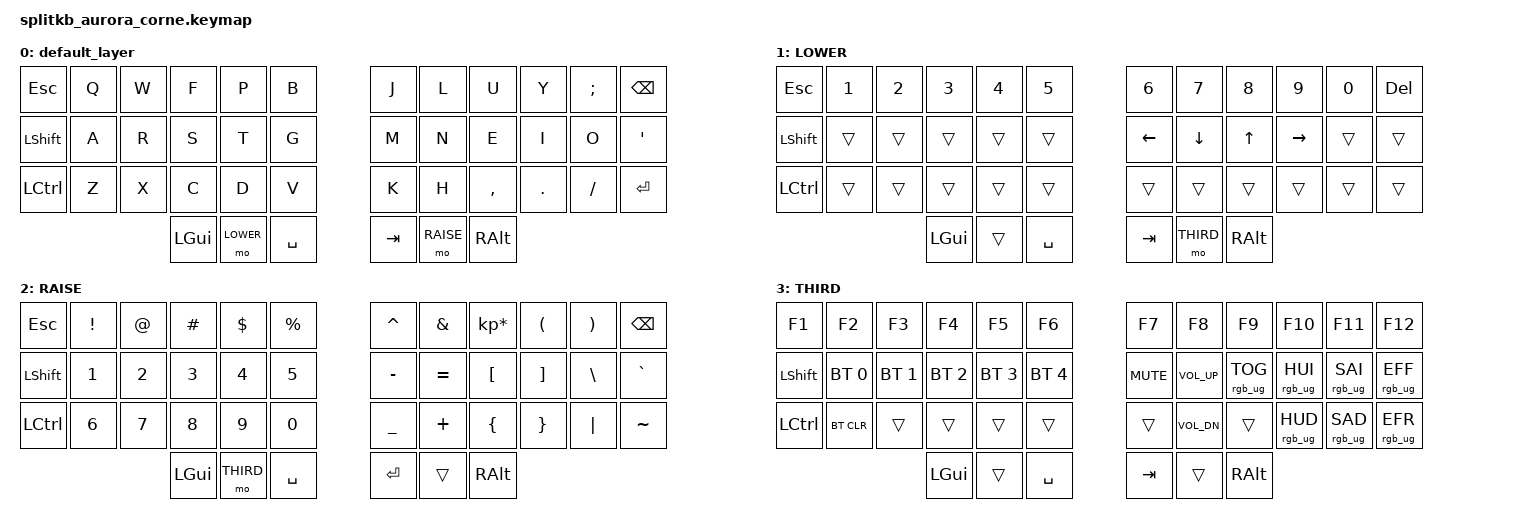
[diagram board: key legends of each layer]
/*
 * Copyright (c) 2020 The ZMK Contributors
 *
 * SPDX-License-Identifier: MIT
 */

#include <behaviors.dtsi>
#include <dt-bindings/zmk/keys.h>
#include <dt-bindings/zmk/bt.h>
#include <dt-bindings/zmk/rgb.h>
#define LOWER 1
#define RAISE 2
#define THIRD 3

/ {
        keymap {
                compatible = "zmk,keymap";

                default_layer {
// -----------------------------------------------------------------------------------------
// |  ESC   |  Q  |  W  |  F  |  P  |  B  |   |  J  |  L   |  U  |  Y  |  ;  | BKSP   |
// | LSHFT  |  A  |  R  |  S  |  T  |  G  |   |  M  |  N   |  E  |  I  |  O  |  '     |
// | LCTRL  |  Z  |  X  |  C  |  D  |  V  |   |  K  |  H   |  ,  |  .  |  /  | ENTER  |
//                      | GUI | LWR | SPC |   | TAB | RSE  | ALT |
                        bindings = <
   &kp ESC   &kp Q &kp W &kp F &kp P &kp B   &kp J &kp L  &kp U     &kp Y   &kp SEMI  &kp BSPC
   &kp LSHFT &kp A &kp R &kp S &kp T &kp G   &kp M &kp N  &kp E     &kp I   &kp O     &kp SQT
   &kp LCTRL &kp Z &kp X &kp C &kp D &kp V   &kp K &kp H  &kp COMMA &kp DOT &kp FSLH  &kp ENTER
                   &kp LGUI &mo LOWER &kp SPACE   &kp TAB &mo RAISE &kp RALT
                        >;
                };
                LOWER {
// -----------------------------------------------------------------------------------------
// |  ESC |  1  |  2  |  3  |  4  |  5  |   |  6  |  7  |  8  |  9  |  0  | DEL |
// | LSHFT|     |     |     |     |     |   | LFT | DWN |  UP | RGT |     |      |
// | LCTRL|     |     |     |     |     |   |     |     |     |     |     |      |
//                    | GUI |     | SPC |   | TAB |     | ALT |
                        bindings = <
   &kp ESC    &kp N1  &kp N2  &kp N3   &kp N4   &kp N5        &kp N6   &kp N7   &kp N8  &kp N9    &kp N0 &kp DEL
   &kp LSHFT  &trans  &trans  &trans   &trans   &trans        &kp LEFT &kp DOWN &kp UP  &kp RIGHT &trans &trans
   &kp LCTRL  &trans  &trans  &trans   &trans   &trans        &trans   &trans   &trans  &trans    &trans &trans
                              &kp LGUI &trans   &kp SPACE     &kp TAB  &mo THIRD    &kp RALT
                        >;
                };

                RAISE {
// -----------------------------------------------------------------------------------------
// |  ESC |  !  |  @  |  #  |  $  |  %  |   |  ^    |  &  |  *  |  (  |  )  | BKSP |
// | CTRL |  1  |  2  | 3   |  4  |  5  |   |  -    |  =  |  [  |  ]  |  \  |  `   |
// | SHFT |  6  |  7  | 8   |  9  |  0  |   |  _    |  +  |  {  |  }  | "|" |  ~   |
//                    | GUI |     | SPC |   | ENTER |     | ALT |
                        bindings = <
   &kp ESC    &kp EXCL   &kp AT &kp HASH &kp DLLR &kp PRCNT    &kp CARET  &kp AMPS  &kp KP_MULTIPLY &kp LPAR &kp RPAR &kp BSPC
   &kp LSHFT  &kp N1     &kp N2 &kp N3   &kp N4   &kp N5       &kp MINUS  &kp EQUAL &kp LBKT        &kp RBKT &kp BSLH &kp GRAVE
   &kp LCTRL  &kp N6     &kp N7 &kp N8   &kp N9   &kp N0       &kp UNDER  &kp PLUS  &kp LBRC        &kp RBRC &kp PIPE &kp TILDE
                                &kp LGUI &mo THIRD    &kp SPACE    &kp ENTER  &trans    &kp RALT
                        >;
                };
                THIRD {
// -----------------------------------------------------------------------------------------
// |  F1  | F2    | F3  | F4  | F5  | F6  |   | F7      | F8          | F9      | F10     | F11     | F12     |
// | CTRL | BT1   | BT2 | BT3 | BT4 | BT5 |   | K_MUTE  | K_VOL_UP    | RGB_TOG | RGB_HUI | RGB_SAI | RGB_EFF |
// | SHFT | BTCLR |     |     |     |     |   |         | K_VOL_DN    |         | RGB_HUD | RGB_SAD | RGB_EFR |
//                      | GUI |     | SPC |   | TAB     |             | ALT     |
                        bindings = <
   &kp F1     &kp F2        &kp F3        &kp F4        &kp F5        &kp F6        &kp F7      &kp F8        &kp F9  &kp F10 &kp F11 &kp F12    
   &kp LSHFT  &bt BT_SEL 0  &bt BT_SEL 1  &bt BT_SEL 2  &bt BT_SEL 3  &bt BT_SEL 4  &kp K_MUTE  &kp K_VOL_UP  &rgb_ug RGB_TOG &rgb_ug RGB_HUI &rgb_ug RGB_SAI &rgb_ug RGB_EFF
   &kp LCTRL  &bt BT_CLR    &trans        &trans        &trans        &trans        &trans      &kp K_VOL_DN  &trans          &rgb_ug RGB_HUD &rgb_ug RGB_SAD &rgb_ug RGB_EFR
                                          &kp LGUI      &trans        &kp SPACE     &kp TAB     &trans        &kp RALT
                        >;
                };
        };
};
